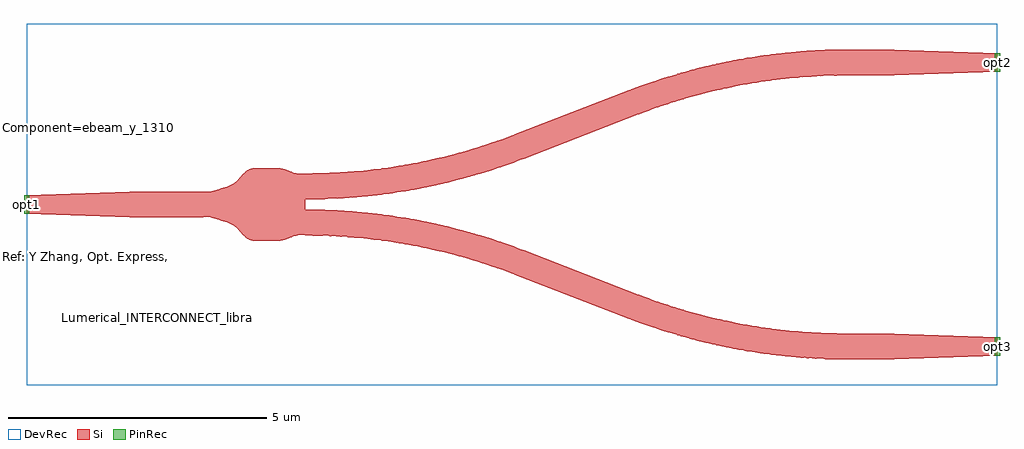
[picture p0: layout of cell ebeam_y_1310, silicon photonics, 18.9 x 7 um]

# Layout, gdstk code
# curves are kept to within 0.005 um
import gdstk
lib = gdstk.Library(unit=1e-6, precision=1e-09)
def R(c, l, rs):  # rectangles x0, y0, x1, y1
    for r in rs: c.add(gdstk.rectangle(r[:2], r[2:], *l))
def P(c, l, *ps):  # polygons
    for p in ps: c.add(gdstk.Polygon(p, *l))
Si = (1, 0)
PinRec = (1, 10)
DevRec = (68, 0)

ebeam_y_1310 = lib.new_cell('ebeam_y_1310')
R(ebeam_y_1310, Si, [(6.5,-3,7.4,-2.5), (-7.4,-0.25,-6,0.25), (6.5,2.5,7.4,3)])
P(ebeam_y_1310, Si, [(6.458,-3),(6.237,-2.997),(6.237,-2.497),(6.5,-2.5),(6.5,-3)],
  [(5.033,-2.908),(4.653,-2.854),(4.288,-2.79),(3.941,-2.718),(3.59,-2.634),(3.272,-2.548),(2.922,-2.442),(2.555,-2.318),(2.265,-2.21),(2.445,-1.744),(3.075,-1.966),(3.437,-2.075),(3.731,-2.154),(4.372,-2.297),(5.033,-2.404)],
  [(6.233,-2.997),(5.619,-2.967),(5.033,-2.908),(5.033,-2.404),(5.625,-2.466),(6.237,-2.497)],
  [(2.265,-2.21),(0.055,-1.356),(0.235,-0.89),(2.445,-1.744)],
  [(-0.762,-1.076),(-1.123,-0.974),(-1.532,-0.874),(-1.909,-0.796),(-2.334,-0.724),(-2.792,-0.665),(-3.178,-0.63),(-3.601,-0.607),(-4,-0.6),(-4,-0.1),(-3.565,-0.108),(-3.16,-0.13),(-2.794,-0.162),(-2.381,-0.212),(-1.968,-0.277),(-1.565,-0.355),(-1.214,-0.435),(-0.762,-0.555)],
  [(0.055,-1.356),(-0.369,-1.202),(-0.762,-1.076),(-0.762,-0.555),(-0.263,-0.71),(0.235,-0.89)],
  [(6.237,2.497),(6.237,2.997),(6.5,3),(6.5,2.5)],
  [(2.445,1.744),(2.267,2.211),(2.555,2.318),(2.922,2.442),(3.272,2.548),(3.59,2.634),(3.941,2.718),(4.288,2.79),(4.653,2.854),(5.033,2.908),(5.033,2.404),(4.372,2.297),(3.731,2.154),(3.437,2.075),(3.075,1.966)],
  [(5.033,2.404),(5.033,2.908),(5.619,2.967),(6.237,2.997),(6.237,2.497),(5.625,2.466)],
  [(0.235,0.89),(0.055,1.356),(2.265,2.21),(2.445,1.744)],
  [(-4,0.1),(-4,0.6),(-3.601,0.607),(-3.178,0.63),(-2.792,0.665),(-2.334,0.724),(-1.909,0.796),(-1.532,0.874),(-1.123,0.974),(-0.762,1.076),(-0.762,0.555),(-1.214,0.435),(-1.565,0.355),(-1.968,0.277),(-2.381,0.212),(-2.794,0.162),(-3.16,0.13),(-3.565,0.108)],
  [(-0.762,0.555),(-0.762,1.076),(-0.369,1.202),(0.055,1.356),(0.235,0.89),(-0.263,0.71)],
  [(-5.122,-0.662),(-5.179,-0.619),(-5.344,-0.44),(-5.442,-0.374),(-5.536,-0.338),(-5.808,-0.255),(-5.883,-0.245),(-6,-0.25),(-6,0.25),(-5.883,0.245),(-5.817,0.253),(-5.536,0.338),(-5.442,0.374),(-5.344,0.44),(-5.204,0.594),(-5.122,0.662)],
  [(-4.957,-0.703),(-5.047,-0.692),(-5.122,-0.662),(-5.122,0.662),(-5.062,0.688),(-4.978,0.702),(-4.538,0.703),(-4.424,0.685),(-4.167,0.6),(-4,0.6),(-4,-0.6),(-4.167,-0.6),(-4.403,-0.679),(-4.509,-0.701)],
  [(-7.4,-0.25),(-9.4,-0.175),(-9.4,0.175),(-7.4,0.25)],
  [(7.4,2.5),(7.4,3),(9.4,2.925),(9.4,2.575)],
  [(7.4,-3),(7.4,-2.5),(9.4,-2.575),(9.4,-2.925)])
R(ebeam_y_1310, DevRec, [(-9.4,-3.5,9.4,3.5)])
ebeam_y_1310.add(gdstk.FlexPath([(9.35,2.75),(9.45,2.75)], 0.35, ends="flush", simple_path=True, layer=1, datatype=10))  # PinRec
ebeam_y_1310.add(gdstk.FlexPath([(9.35,-2.75),(9.45,-2.75)], 0.35, ends="flush", simple_path=True, layer=1, datatype=10))  # PinRec
ebeam_y_1310.add(gdstk.FlexPath([(-9.35,0),(-9.45,0)], 0.35, ends="flush", simple_path=True, layer=1, datatype=10))  # PinRec
ebeam_y_1310.add(gdstk.Label('Lumerical_INTERCONNECT_library=Design kits/ebeam', (-6.86,-2.19), layer=68, texttype=0))
ebeam_y_1310.add(gdstk.Label('Component=ebeam_y_1310', (-9,1.5), layer=68, texttype=0))
ebeam_y_1310.add(gdstk.Label('opt2', (9.4,2.75), layer=1, texttype=10))
ebeam_y_1310.add(gdstk.Label('opt3', (9.4,-2.75), layer=1, texttype=10))
ebeam_y_1310.add(gdstk.Label('opt1', (-9.4,0), layer=1, texttype=10))
ebeam_y_1310.add(gdstk.Label('Ref: Y Zhang, Opt. Express, 21/1, 2013, for 1550 nm\nWorks reasonably well at 1310 nm', (-9.25,-1), layer=10, texttype=0))

lib.write_gds('ebeam_y_1310.gds')
